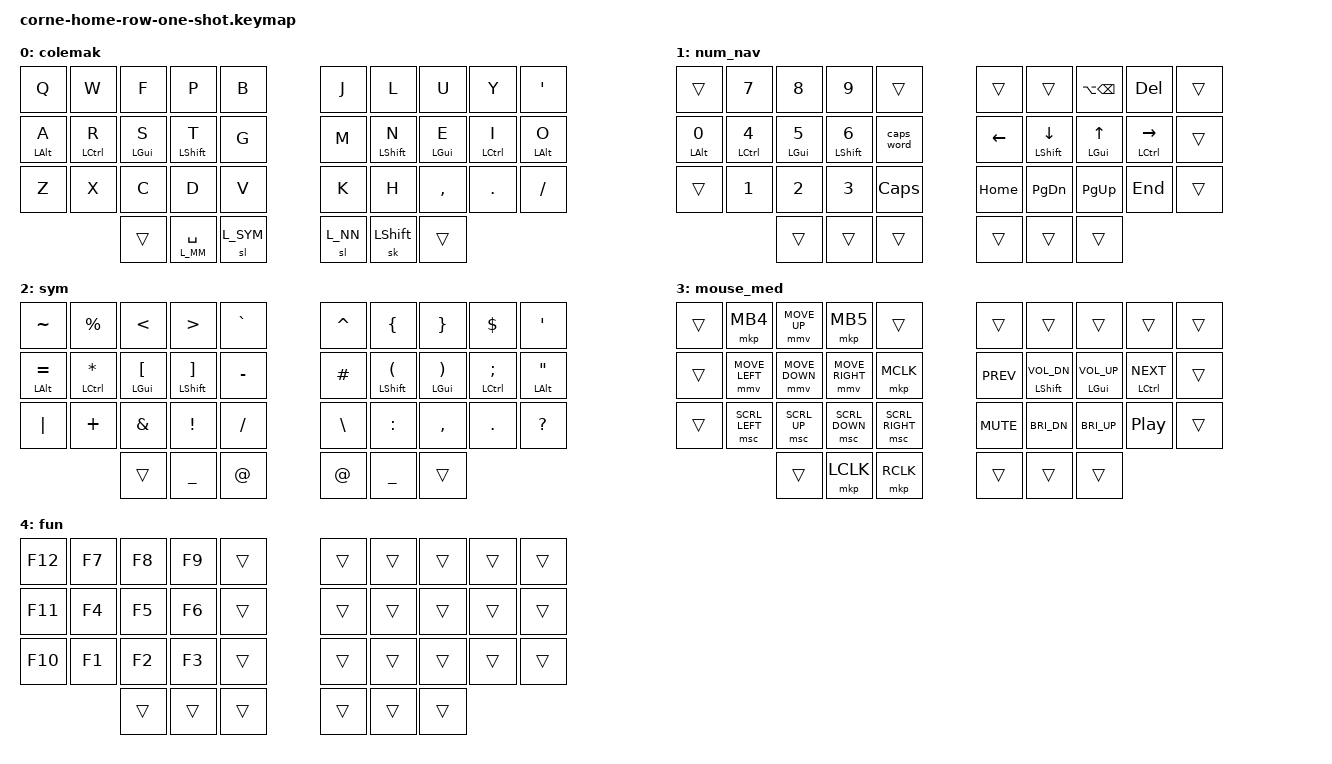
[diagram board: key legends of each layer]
#define ZMK_POINTING_DEFAULT_MOVE_VAL 1500 // 600
#define ZMK_POINTING_DEFAULT_SCRL_VAL 30 // 10

#define ___ &trans

#define L_NN 1
#define L_SYM 2
#define L_MM 3
#define L_FUN 4

#define CK_COMBO_TIMEOUT 35
#define CK_PRIOR_IDLE 150
#define CK_TAPPING_TERM 200
#define CK_QUICK_TAP 200

#define CK_LEFT_HAND_KEYS 0 1 2 3 4 10 11 12 13 14 20 21 22 23 24 30 31 32
#define CK_RIGHT_HAND_KEYS 5 6 7 8 9 15 16 17 18 19 25 26 27 28 29 33 34 35

#include <behaviors.dtsi>
#include <dt-bindings/zmk/keys.h>
#include <dt-bindings/zmk/bt.h>

#include <dt-bindings/zmk/pointing.h>
#include <input/processors.dtsi>

// make sticky keys release on the next key press instead of the default key
// release, this was causing problems with rolling letters
&sk {
    quick-release;
};

/ {
    chosen {
        zmk,physical-layout = &foostan_corne_5col_layout;
    };

    conditional_layers {
        compatible = "zmk,conditional-layers";
        tri_fun {
            if-layers = <L_NN L_SYM>;
            then-layer = <L_FUN>;
        };
    };

    combos {
        compatible = "zmk,combos";
        combo_tab {
            timeout-ms = <CK_COMBO_TIMEOUT>;
            key-positions = <1 2>;
            bindings = <&kp TAB>;
            require-prior-idle-ms = <CK_PRIOR_IDLE>;
        };
        combo_bspc {
            timeout-ms = <CK_COMBO_TIMEOUT>;
            key-positions = <7 8>;
            bindings = <&kp BSPC>;
            require-prior-idle-ms = <CK_PRIOR_IDLE>;
        };
        combo_esc {
            timeout-ms = <CK_COMBO_TIMEOUT>;
            key-positions = <21 22>;
            bindings = <&kp ESC>;
            require-prior-idle-ms = <CK_PRIOR_IDLE>;
        };
        combo_ret {
            timeout-ms = <CK_COMBO_TIMEOUT>;
            key-positions = <27 28>;
            bindings = <&kp RET>;
            require-prior-idle-ms = <CK_PRIOR_IDLE>;
        };
    };

    behaviors {
        lm: left_mod {
            compatible = "zmk,behavior-hold-tap";
            flavor = "balanced";
            bindings = <&kp>, <&kp>;
            #binding-cells = <2>;
            tapping-term-ms = <CK_TAPPING_TERM>;
            quick-tap-ms = <CK_QUICK_TAP>;
            require-prior-idle-ms = <CK_PRIOR_IDLE>;
            hold-trigger-key-positions = <CK_RIGHT_HAND_KEYS>;
            hold-trigger-on-release;
        };

        rm: right_mod {
            compatible = "zmk,behavior-hold-tap";
            flavor = "balanced";
            bindings = <&kp>, <&kp>;
            #binding-cells = <2>;
            tapping-term-ms = <CK_TAPPING_TERM>;
            quick-tap-ms = <CK_QUICK_TAP>;
            require-prior-idle-ms = <CK_PRIOR_IDLE>;
            hold-trigger-key-positions = <CK_LEFT_HAND_KEYS>;
            hold-trigger-on-release;
        };

        tl: thumb_layer {
            compatible = "zmk,behavior-hold-tap";
            flavor = "balanced";
            bindings = <&mo>, <&kp>;
            #binding-cells = <2>;
            tapping-term-ms = <CK_TAPPING_TERM>;
            quick-tap-ms = <CK_QUICK_TAP>;
            require-prior-idle-ms = <CK_PRIOR_IDLE>;
        };
    };

    keymap {
        compatible = "zmk,keymap";

        colemak {
            bindings = <
&kp Q               &kp W               &kp F               &kp P               &kp B               &kp J               &kp L               &kp U               &kp Y               &kp SQT
&lm LALT A          &lm LCTRL R         &lm LGUI S          &lm LSHIFT T        &kp G               &kp M               &rm LSHIFT N        &rm LGUI E          &rm LCTRL I         &rm LALT O
&kp Z               &kp X               &kp C               &kp D               &kp V               &kp K               &kp H               &kp COMMA           &kp DOT             &kp FSLH
                                        ___                 &tl L_MM SPACE      &sl L_SYM           &sl L_NN            &sk LSHIFT          ___
            >;
        };

        num_nav {
            bindings = <
___                 &kp N7              &kp N8              &kp N9              ___                 ___                 ___                 &kp LA(BSPC)        &kp DEL             ___
&lm LALT N0         &lm LCTRL N4        &lm LGUI N5         &lm LSHIFT N6       &caps_word          &kp LEFT            &rm LSHIFT DOWN     &rm LGUI UP         &rm LCTRL RIGHT     ___
___                 &kp N1              &kp N2              &kp N3              &kp CAPS            &kp HOME            &kp PG_DN           &kp PG_UP           &kp END             ___
                                        ___                 ___                 ___                 ___                 ___                 ___
            >;
        };

        sym {
            bindings = <
&kp TILDE           &kp PRCNT           &kp LT              &kp GT              &kp GRAVE           &kp CARET           &kp LBRC            &kp RBRC            &kp DLLR            &kp SQT
&lm LALT EQUAL      &lm LCTRL STAR      &lm LGUI LBKT       &lm LSHIFT RBKT     &kp MINUS           &kp HASH            &rm LSHIFT LPAR     &rm LGUI RPAR       &rm LCTRL SEMI      &rm LALT DQT
&kp PIPE            &kp PLUS            &kp AMPS            &kp EXCL            &kp FSLH            &kp BSLH            &kp COLON           &kp COMMA           &kp DOT             &kp QMARK
                                        ___                 &kp UNDER           &kp AT              &kp AT              &kp UNDER           ___
            >;
        };

        mouse_med {
            bindings = <
___                 &mkp MB4            &mmv MOVE_UP        &mkp MB5            ___                 ___                 ___                 ___                 ___                 ___
___                 &mmv MOVE_LEFT      &mmv MOVE_DOWN      &mmv MOVE_RIGHT     &mkp MCLK           &kp C_PREV          &rm LSHIFT C_VOL_DN &rm LGUI C_VOL_UP   &rm LCTRL C_NEXT    ___
___                 &msc SCRL_LEFT      &msc SCRL_UP        &msc SCRL_DOWN      &msc SCRL_RIGHT     &kp C_MUTE          &kp C_BRI_DN        &kp C_BRI_UP        &kp C_PP            ___
                                        ___                 &mkp LCLK           &mkp RCLK           ___                 ___                 ___
            >;
        };

        fun {
            bindings = <
&kp F12             &kp F7              &kp F8              &kp F9              ___                 ___                 ___                 ___                 ___                 ___
&kp F11             &kp F4              &kp F5              &kp F6              ___                 ___                 ___                 ___                 ___                 ___
&kp F10             &kp F1              &kp F2              &kp F3              ___                 ___                 ___                 ___                 ___                 ___
                                        ___                 ___                 ___                 ___                 ___                 ___
            >;
        };
    };
};
